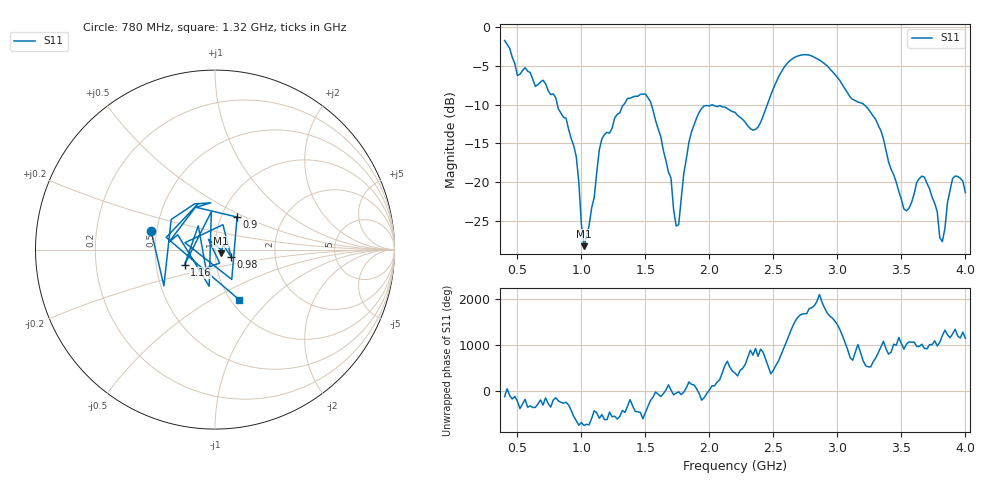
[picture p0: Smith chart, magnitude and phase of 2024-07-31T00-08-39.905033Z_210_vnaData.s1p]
!Created with skrf (http://scikit-rf.org).
# Hz S RI R 50.0
!freq ReS11 ImS11
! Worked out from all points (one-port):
!   181 points, 400 MHz to 4 GHz, reference 50 ohm
!   lowest |S11| = -28.3 dB at 1.02 GHz (marker M1), VSWR 1.08, Z = 53.4 - j2.09 ohm
!   |S11| at or under -10 dB: 812.1 MHz to 1.331 GHz (518.5 MHz wide, 48.4 % of centre); 1.546 GHz to 2.452 GHz (905.2 MHz wide, 45.3 % of centre); 3.208 GHz to end of sweep
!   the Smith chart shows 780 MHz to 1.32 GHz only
!   S11 on the Smith chart (normalised r, x): 780 MHz: 0.47, +0.11; 900 MHz: 1.19, +0.45; 980 MHz: 1.19, -0.10; 1.16 GHz: 0.70, -0.12; 1.32 GHz: 1.09, -0.67
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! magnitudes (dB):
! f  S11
! 400 MHz  -1.7
! 500 MHz  -6.2
! 780 MHz  -8.6
! 860 MHz  -11.6
! 900 MHz  -13.2
! 980 MHz  -20.1
! 1.02 GHz  -28.3
! 1.16 GHz  -14.4
! 1.3 GHz  -11.1
! 1.32 GHz  -10.2
! 1.54 GHz  -9.6
! 1.7 GHz  -19.5
! 1.74 GHz  -25.7
! 1.76 GHz  -25.5
! 1.84 GHz  -14.9
! 1.92 GHz  -11.0
! 2.2 GHz  -11.0
! 2.38 GHz  -12.9
! 2.66 GHz  -3.9
! 2.88 GHz  -4.5
! 3.1 GHz  -9.0
! 3.3 GHz  -11.9
! 3.52 GHz  -23.5
! 3.56 GHz  -23.4
! 3.68 GHz  -19.4
! 3.82 GHz  -27.7
! 3.9 GHz  -19.6
! 4 GHz  -21.4
